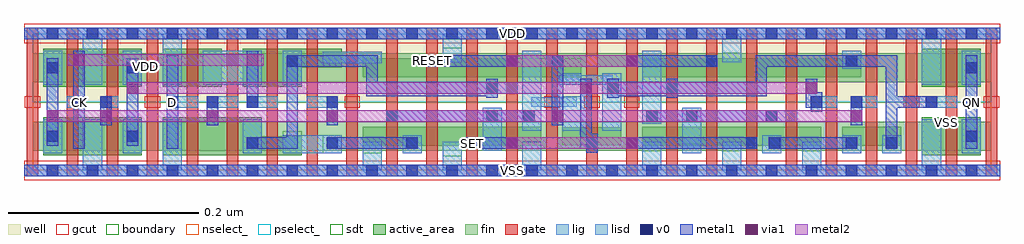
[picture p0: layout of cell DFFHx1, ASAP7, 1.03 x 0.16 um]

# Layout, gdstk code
import gdstk
lib = gdstk.Library(unit=1e-6, precision=2.5e-10)
def R(c, l, rs):  # rectangles x0, y0, x1, y1
    for r in rs: c.add(gdstk.rectangle(r[:2], r[2:], *l))
def A(c, l, x, y, w, h, nx, ny, dx, dy):  # array of equal rectangles
    R(c, l, [(x+i*dx, y+j*dy, x+i*dx+w, y+j*dy+h) for i in range(nx) for j in range(ny)])
def P(c, l, *ps):  # polygons
    for p in ps: c.add(gdstk.Polygon(p, *l))
well = (1, 0)
fin = (2, 0)
gate = (7, 0)
gcut = (10, 0)
active_area = (11, 0)
nselect_ = (12, 0)
pselect_ = (13, 0)
lig = (16, 0)
lisd = (17, 0)
v0 = (18, 0)
metal1 = (19, 0)
metal2 = (20, 0)
via1 = (21, 0)
sdt = (88, 0)
boundary = (100, 0)

dffhx1 = lib.new_cell('DFFHx1')
R(dffhx1, well, [(0,0.072,1.008,0.144)])
R(dffhx1, fin, [(0,0.021,1.008,0.051), (0,0.093,1.008,0.123)])
A(dffhx1, gate, -0.006, -0.006, 0.012, 0.156, 25, 1, 0.042, 0)
A(dffhx1, gcut, 0.118, 0.066, 0.016, 0.012, 3, 1, 0.21, 0)
R(dffhx1, gcut, [(-0.009,-0.01,1.017,0.01), (-0.008,0.066,0.008,0.078), (0.58,0.066,0.596,0.078), (0.622,0.066,0.638,0.078), (0.916,0.066,0.932,0.078), (1,0.066,1.016,0.078), (-0.009,0.134,1.017,0.154)])
R(dffhx1, active_area, [(0.011,0.016,0.115,0.056), (0.935,0.016,0.997,0.056), (0.347,0.026,0.535,0.046), (0.641,0.026,0.829,0.046), (0.851,0.026,0.913,0.046), (0.557,0.0265,0.619,0.0455), (0.011,0.088,0.115,0.128), (0.137,0.088,0.199,0.128), (0.935,0.088,0.997,0.128), (0.347,0.098,0.535,0.118), (0.515,0.098,0.577,0.118), (0.641,0.098,0.871,0.118)])
P(dffhx1, active_area, [(0.283,0.108),(0.325,0.108),(0.325,0.128),(0.221,0.128),(0.221,0.088),(0.283,0.088)],
  [(0.283,0.036),(0.241,0.036),(0.241,0.056),(0.137,0.056),(0.137,0.016),(0.283,0.016)])
R(dffhx1, nselect_, [(0,0,1.008,0.072)])
R(dffhx1, pselect_, [(0,0.072,1.008,0.144)])
A(dffhx1, lig, 0.141, 0.066, 0.033, 0.012, 3, 1, 0.042, 0)
R(dffhx1, lig, [(-0.009,-0.006,1.017,0.006), (0.456,0.0227,0.468,0.0348), (0.582,0.0227,0.594,0.0348), (0.75,0.0227,0.762,0.0348), (0.372,0.0515,0.384,0.0635), (0.771,0.0515,0.804,0.0635), (0.036,0.066,0.055,0.078), (0.071,0.066,0.09,0.078), (0.288,0.066,0.321,0.078), (0.818,0.066,0.846,0.078), (0.86,0.066,0.888,0.078), (0.939,0.066,0.972,0.078), (0.524,0.067,0.572,0.077), (0.477,0.0805,0.51,0.0925), (0.666,0.0805,0.678,0.0925), (0.553,0.09,0.61,0.1), (0.414,0.1092,0.426,0.1212), (0.54,0.1092,0.558,0.1212), (0.708,0.1092,0.72,0.1212), (-0.009,0.138,1.017,0.15)])
A(dffhx1, lisd, 0.347, 0, 0.02, 0.03, 3, 1, 0.084, 0)
A(dffhx1, lisd, 0.641, 0, 0.02, 0.03, 3, 1, 0.084, 0)
R(dffhx1, lisd, [(0.053,0,0.073,0.054), (0.137,0,0.157,0.054), (0.935,0,0.955,0.054), (0.011,0.018,0.031,0.054), (0.095,0.018,0.115,0.054), (0.221,0.018,0.241,0.054), (0.263,0.018,0.325,0.0372), (0.389,0.018,0.409,0.0372), (0.683,0.018,0.703,0.066), (0.767,0.018,0.787,0.0372), (0.851,0.018,0.871,0.0372), (0.893,0.018,0.913,0.0372), (0.977,0.018,0.997,0.054), (0.473,0.021,0.493,0.066), (0.515,0.042,0.535,0.126), (0.557,0.042,0.577,0.078), (0.599,0.042,0.619,0.102), (0.641,0.0493,0.661,0.126), (0.011,0.09,0.031,0.126), (0.053,0.09,0.073,0.144), (0.095,0.09,0.115,0.126), (0.137,0.09,0.157,0.144), (0.179,0.09,0.241,0.126), (0.263,0.09,0.283,0.126), (0.935,0.09,0.955,0.144), (0.977,0.09,0.997,0.126), (0.557,0.092,0.577,0.102), (0.851,0.1067,0.871,0.126), (0.305,0.1128,0.367,0.1247), (0.431,0.114,0.451,0.144), (0.725,0.114,0.745,0.144)])
A(dffhx1, v0, 0.015, -0.006, 0.012, 0.012, 24, 2, 0.042, 0.144)
A(dffhx1, v0, 0.225, 0.0227, 0.012, 0.012, 3, 1, 0.084, 0)
A(dffhx1, v0, 0.141, 0.066, 0.012, 0.012, 3, 1, 0.042, 0)
R(dffhx1, v0, [(0.456,0.0227,0.468,0.0348), (0.582,0.0227,0.594,0.0348), (0.75,0.0227,0.762,0.0348), (0.774,0.0227,0.786,0.0348), (0.855,0.0227,0.867,0.0348), (0.897,0.0227,0.909,0.0348), (0.015,0.03,0.027,0.042), (0.099,0.03,0.111,0.042), (0.981,0.03,0.993,0.042), (0.372,0.0515,0.384,0.0635), (0.477,0.0515,0.489,0.0635), (0.516,0.0515,0.528,0.0635), (0.645,0.0515,0.657,0.0635), (0.687,0.0515,0.699,0.0635), (0.771,0.0515,0.783,0.0635), (0.043,0.066,0.055,0.078), (0.071,0.066,0.083,0.078), (0.309,0.066,0.321,0.078), (0.818,0.066,0.83,0.078), (0.86,0.066,0.872,0.078), (0.939,0.066,0.951,0.078), (0.477,0.0805,0.489,0.0925), (0.604,0.0805,0.616,0.0925), (0.666,0.0805,0.678,0.0925), (0.015,0.102,0.027,0.114), (0.099,0.102,0.111,0.114), (0.981,0.102,0.993,0.114), (0.267,0.1092,0.279,0.1212), (0.414,0.1092,0.426,0.1212), (0.546,0.1092,0.558,0.1212), (0.708,0.1092,0.72,0.1212), (0.855,0.1092,0.867,0.1212)])
R(dffhx1, metal1, [(-0.009,-0.006,1.017,0.006), (0.043,0.0227,0.055,0.126), (0.141,0.0227,0.153,0.1212), (0.309,0.0227,0.405,0.0348), (0.456,0.0227,0.51,0.0348), (0.624,0.0227,0.762,0.0348), (0.774,0.0227,0.867,0.0348), (0.981,0.0227,0.993,0.1212), (0.015,0.026,0.027,0.118), (0.099,0.026,0.111,0.118), (0.071,0.0475,0.083,0.078), (0.183,0.0475,0.195,0.078), (0.309,0.0475,0.321,0.078), (0.546,0.0475,0.558,0.1212), (0.86,0.0475,0.872,0.078), (0.372,0.0515,0.528,0.0635), (0.645,0.0515,0.783,0.0635), (0.225,0.066,0.237,0.126), (0.414,0.1092,0.51,0.1212), (0.624,0.1092,0.72,0.1212), (-0.009,0.138,1.017,0.15)])
P(dffhx1, metal1, [(0.909,0.066),(0.951,0.066),(0.951,0.078),(0.909,0.078),(0.909,0.1212),(0.76,0.1212),(0.76,0.0935),(0.678,0.0935),(0.678,0.0965),(0.666,0.0965),(0.666,0.0935),(0.616,0.0935),(0.616,0.0965),(0.604,0.0965),(0.604,0.0765),(0.616,0.0765),(0.616,0.078),(0.666,0.078),(0.666,0.0765),(0.678,0.0765),(0.678,0.078),(0.772,0.078),(0.772,0.1092),(0.897,0.1092),(0.897,0.0227),(0.909,0.0227)],
  [(0.279,0.1092),(0.351,0.1092),(0.351,0.078),(0.477,0.078),(0.477,0.0765),(0.489,0.0765),(0.489,0.0965),(0.477,0.0965),(0.477,0.0935),(0.363,0.0935),(0.363,0.1212),(0.267,0.1212),(0.267,0.0348),(0.225,0.0348),(0.225,0.0227),(0.279,0.0227)],
  [(0.594,0.0387),(0.588,0.0387),(0.588,0.0965),(0.576,0.0965),(0.576,0.0227),(0.582,0.0227),(0.582,0.0187),(0.594,0.0187)],
  [(0.83,0.082),(0.825,0.082),(0.825,0.0965),(0.813,0.0965),(0.813,0.066),(0.818,0.066),(0.818,0.062),(0.83,0.062)])
R(dffhx1, metal2, [(0.498,0.0227,0.636,0.0348), (0.015,0.0515,0.872,0.0635), (0.099,0.0805,0.825,0.0925), (0.498,0.1092,0.636,0.1212), (0.037,0.11,0.243,0.122)])
R(dffhx1, via1, [(0.498,0.0227,0.51,0.0348), (0.624,0.0227,0.636,0.0348), (0.015,0.0515,0.027,0.0635), (0.071,0.0515,0.083,0.0635), (0.183,0.0515,0.195,0.0635), (0.309,0.0515,0.321,0.0635), (0.546,0.0515,0.558,0.0635), (0.86,0.0515,0.872,0.0635), (0.099,0.0805,0.111,0.0925), (0.576,0.0805,0.588,0.0925), (0.813,0.0805,0.825,0.0925), (0.498,0.1092,0.51,0.1212), (0.624,0.1092,0.636,0.1212), (0.043,0.11,0.055,0.122), (0.225,0.11,0.237,0.122)])
A(dffhx1, sdt, 0.641, 0.02, 0.02, 0.01, 3, 1, 0.084, 0)
A(dffhx1, sdt, 0.011, 0.021, 0.02, 0.03, 4, 1, 0.042, 0)
A(dffhx1, sdt, 0.011, 0.093, 0.02, 0.03, 7, 1, 0.042, 0)
R(dffhx1, sdt, [(0.431,0.015,0.451,0.03), (0.263,0.018,0.283,0.041), (0.305,0.018,0.325,0.0372), (0.347,0.018,0.367,0.03), (0.389,0.018,0.409,0.0372), (0.683,0.018,0.703,0.028), (0.767,0.018,0.787,0.0372), (0.851,0.018,0.871,0.0372), (0.893,0.018,0.913,0.0372), (0.221,0.021,0.241,0.051), (0.473,0.021,0.493,0.031), (0.515,0.021,0.535,0.031), (0.515,0.021,0.535,0.031), (0.935,0.021,0.955,0.051), (0.977,0.021,0.997,0.051), (0.557,0.042,0.577,0.052), (0.599,0.042,0.619,0.052), (0.557,0.092,0.577,0.102), (0.599,0.092,0.619,0.102), (0.515,0.093,0.535,0.123), (0.935,0.093,0.955,0.123), (0.977,0.093,0.997,0.123), (0.851,0.111,0.871,0.126), (0.305,0.1128,0.325,0.1247), (0.347,0.1128,0.367,0.1247), (0.431,0.114,0.451,0.129), (0.725,0.114,0.745,0.124), (0.641,0.116,0.661,0.126)])
R(dffhx1, boundary, [(0,0,1.008,0.144)])
dffhx1.add(gdstk.Label('VDD', (0.119,0.1092), layer=1, texttype=251))
dffhx1.add(gdstk.Label('VSS', (0.961,0.0505), layer=3, texttype=251))
dffhx1.add(gdstk.Label('RESET', (0.42,0.1153), layer=19, texttype=251))
dffhx1.add(gdstk.Label('SET', (0.462,0.0288), layer=19, texttype=251))
dffhx1.add(gdstk.Label('VDD', (0.504,0.144), layer=19, texttype=251))
dffhx1.add(gdstk.Label('VSS', (0.504,0), layer=19, texttype=251))
dffhx1.add(gdstk.Label('QN', (0.987,0.072), layer=19, texttype=251))
dffhx1.add(gdstk.Label('CK', (0.049,0.072), layer=19, texttype=251))
dffhx1.add(gdstk.Label('D', (0.147,0.072), layer=19, texttype=251))

lib.write_gds('DFFHx1.gds')
